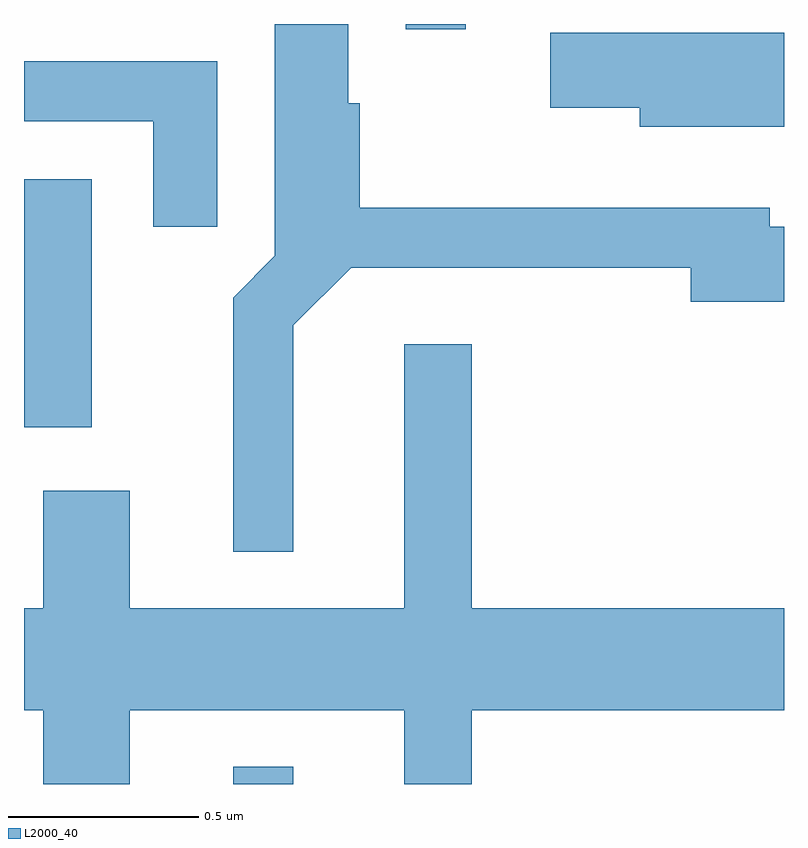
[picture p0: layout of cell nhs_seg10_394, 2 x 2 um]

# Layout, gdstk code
import gdstk
lib = gdstk.Library(unit=1e-6, precision=1e-09)
def R(c, l, rs):  # rectangles x0, y0, x1, y1
    for r in rs: c.add(gdstk.rectangle(r[:2], r[2:], *l))
def P(c, l, *ps):  # polygons
    for p in ps: c.add(gdstk.Polygon(p, *l))
L2000_40 = (2000, 40)

nhs_seg10_394 = lib.new_cell('nhs_seg10_394')
R(nhs_seg10_394, L2000_40, [(188.161,2202.522,188.319,2202.568), (187.611,2203.461,187.789,2204.114), (188.616,2204.508,188.774,2204.522)])
P(nhs_seg10_394, L2000_40, [(188.319,2203.729),(188.472,2203.881),(189.366,2203.881),(189.366,2203.791),(189.611,2203.791),(189.611,2203.989),(189.574,2203.989),(189.574,2204.039),(188.494,2204.039),(188.494,2204.314),(188.464,2204.314),(188.464,2204.522),(188.271,2204.522),(188.271,2203.912),(188.161,2203.802),(188.161,2203.133),(188.319,2203.133)],
  [(189.611,2204.499),(188.996,2204.499),(188.996,2204.301),(189.231,2204.301),(189.231,2204.251),(189.611,2204.251)],
  [(188.119,2204.424),(187.611,2204.424),(187.611,2204.266),(187.951,2204.266),(187.951,2203.988),(188.119,2203.988)],
  [(187.889,2202.716),(188.611,2202.716),(188.611,2202.522),(188.789,2202.522),(188.789,2202.716),(189.611,2202.716),(189.611,2202.984),(188.789,2202.984),(188.789,2203.679),(188.611,2203.679),(188.611,2202.984),(187.889,2202.984),(187.889,2203.294),(187.661,2203.294),(187.661,2202.984),(187.611,2202.984),(187.611,2202.716),(187.661,2202.716),(187.661,2202.522),(187.889,2202.522)])

lib.write_gds('nhs_seg10_394.gds')
